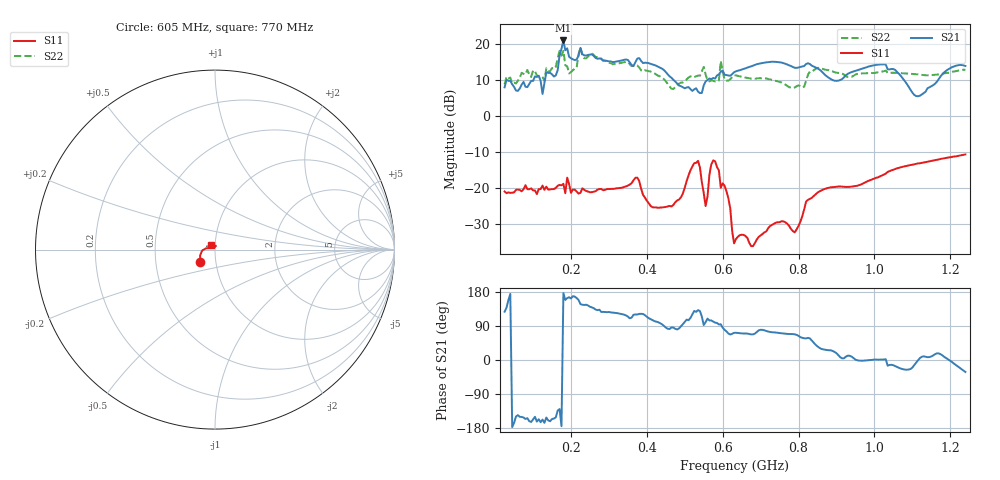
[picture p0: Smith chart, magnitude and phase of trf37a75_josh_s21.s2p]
!Created with skrf (http://scikit-rf.org).
# Hz S RI R 50.0
!freq ReS11 ImS11 ReS21 ImS21 ReS12 ImS12 ReS22 ImS22
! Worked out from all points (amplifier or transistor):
!   244 points, 25 MHz to 1.24 GHz, reference 50 ohm
!   highest |S21| = 20.9 dB at 180 MHz (marker M1)
!   |S21| within 3 dB of that: 173 MHz to 191.7 MHz (18.72 MHz wide, 10.3 % of centre)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
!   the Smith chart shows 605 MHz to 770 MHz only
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2.5e7  -0.0833 -0.0299  -1.513 1.976  0 0  -1.207 2.456
5.5e7  -0.084 -0.0407  -1.923 -1.157  0 0  -2.784 -0.3876
1.25e8  -0.1033 -0.0276  -1.855 -0.7761  0 0  -3.226 1.337
1.6e8  -0.0953 -0.0281  -3.2 -1.748  0 0  -2.709 3.959
1.7e8  -0.0984 0.048  -4.45 -5.385  0 0  -5.255 6.046
1.8e8  -0.095 0.0617  -11.14 0.671  0 0  3.558 7.173
1.85e8  -0.0452 0.0704  -7.589 2.977  0 0  2.135 4.559
2.05e8  -0.0941 -0.00594  -5.981 1.235  0 0  0.1327 4.304
2.2e8  -0.0753 -0.0347  -6.397 2.536  0 0  3.56 6.313
2.3e8  -0.0908 -0.037  -5.971 4.058  0 0  5.475 4.085
3.55e8  -0.0986 -0.0499  -1.905 5.2  0 0  3.337 -3.999
4.3e8  -0.0218 -0.0479  -0.8078 4.74  0 0  0.7214 -3.53
5.35e8  -0.2338 -0.0334  -1.441 1.62  0 0  -3.512 -0.9228
5.9e8  -0.1332 0.1107  -0.2392 3.758  0 0  -3.08 -0.2592
5.95e8  -0.0328 -0.0944  -0.3038 4.086  0 0  -5.762 -0.5329
6.05e8  -0.0824 -0.0677  0.6743 3.659  0 0  -3.092 0.7537
6.35e8  0.00345 0.019  1.291 3.947  0 0  -3.427 1.263
8.35e8  -0.0549 0.0469  3.114 3.884  0 0  1.977 3.619
9.55e8  -0.1064 0.00283  4.301 -0.0514  0 0  3.655 -1.099
1.04e9  -0.1688 0.021  4.298 -1.004  0 0  -0.0425 -3.961
1.17e9  -0.2428 -0.0467  3.098 0.9729  0 0  -3.419 -1.569
1.24e9  -0.264 -0.1206  4.202 -2.577  0 0  -4.013 1.706
